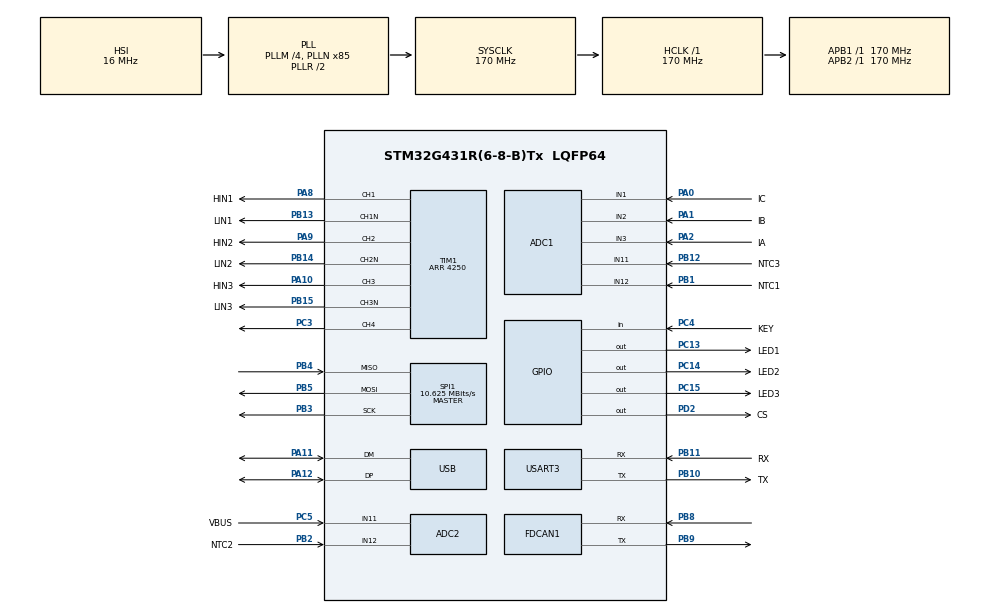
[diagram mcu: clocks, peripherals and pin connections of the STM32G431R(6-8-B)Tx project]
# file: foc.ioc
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ADC1.ClockPrescaler=ADC_CLOCK_ASYNC_DIV4
ADC1.EnableInjectedConversion=ENABLE
ADC1.EnableRegularConversion=DISABLE
ADC1.ExternalTrigInjecConv=ADC_EXTERNALTRIGINJEC_T1_TRGO2
ADC1.InjNumberOfConversion=3
ADC1.InjectedChannel-10\#ChannelInjectedConversion=ADC_CHANNEL_2
ADC1.InjectedChannel-11\#ChannelInjectedConversion=ADC_CHANNEL_3
ADC1.InjectedChannel-9\#ChannelInjectedConversion=ADC_CHANNEL_1
ADC1.InjectedOffsetNumber-10\#ChannelInjectedConversion=ADC_OFFSET_NONE
ADC1.InjectedOffsetNumber-11\#ChannelInjectedConversion=ADC_OFFSET_NONE
ADC1.InjectedOffsetNumber-9\#ChannelInjectedConversion=ADC_OFFSET_NONE
ADC1.InjectedRank-10\#ChannelInjectedConversion=2
ADC1.InjectedRank-11\#ChannelInjectedConversion=3
ADC1.InjectedRank-9\#ChannelInjectedConversion=1
ADC1.InjectedSamplingTime-10\#ChannelInjectedConversion=ADC_SAMPLETIME_6CYCLES_5
ADC1.InjectedSamplingTime-11\#ChannelInjectedConversion=ADC_SAMPLETIME_6CYCLES_5
ADC1.InjectedSamplingTime-9\#ChannelInjectedConversion=ADC_SAMPLETIME_6CYCLES_5
ADC1.Rank1_Channel=ADC_CHANNEL_1
ADC1.Rank2_Channel=ADC_CHANNEL_2
ADC1.Rank3_Channel=ADC_CHANNEL_3
ADC1.master=1
ADC2.Channel-0\#ChannelRegularConversion=ADC_CHANNEL_11
ADC2.ClockPrescaler=ADC_CLOCK_ASYNC_DIV4
ADC2.NbrOfConversionFlag=1
ADC2.OffsetNumber-0\#ChannelRegularConversion=ADC_OFFSET_NONE
ADC2.Rank-0\#ChannelRegularConversion=1
ADC2.SamplingTime-0\#ChannelRegularConversion=ADC_SAMPLETIME_2CYCLES_5
Dma.Request0=TIM1_CH1
Dma.Request1=TIM1_CH2
Dma.Request2=TIM1_CH3
Dma.TIM1_CH1.0.Direction=DMA_PERIPH_TO_MEMORY
Dma.TIM1_CH1.0.EventEnable=DISABLE
Dma.TIM1_CH1.0.Instance=DMA1_Channel1
Dma.TIM1_CH1.0.MemDataAlignment=DMA_MDATAALIGN_HALFWORD
Dma.TIM1_CH1.0.MemInc=DMA_MINC_ENABLE
Dma.TIM1_CH1.0.Mode=DMA_NORMAL
Dma.TIM1_CH1.0.PeriphDataAlignment=DMA_PDATAALIGN_HALFWORD
Dma.TIM1_CH1.0.PeriphInc=DMA_PINC_DISABLE
Dma.TIM1_CH1.0.Polarity=HAL_DMAMUX_REQ_GEN_RISING
Dma.TIM1_CH1.0.Priority=DMA_PRIORITY_LOW
Dma.TIM1_CH1.0.RequestNumber=1
Dma.TIM1_CH1.0.SignalID=NONE
Dma.TIM1_CH1.0.SyncEnable=DISABLE
Dma.TIM1_CH1.0.SyncPolarity=HAL_DMAMUX_SYNC_NO_EVENT
Dma.TIM1_CH1.0.SyncRequestNumber=1
Dma.TIM1_CH1.0.SyncSignalID=NONE
Dma.TIM1_CH2.1.Direction=DMA_PERIPH_TO_MEMORY
Dma.TIM1_CH2.1.EventEnable=DISABLE
Dma.TIM1_CH2.1.Instance=DMA1_Channel2
Dma.TIM1_CH2.1.MemDataAlignment=DMA_MDATAALIGN_HALFWORD
Dma.TIM1_CH2.1.MemInc=DMA_MINC_ENABLE
Dma.TIM1_CH2.1.Mode=DMA_NORMAL
Dma.TIM1_CH2.1.PeriphDataAlignment=DMA_PDATAALIGN_HALFWORD
Dma.TIM1_CH2.1.PeriphInc=DMA_PINC_DISABLE
Dma.TIM1_CH2.1.Polarity=HAL_DMAMUX_REQ_GEN_RISING
Dma.TIM1_CH2.1.Priority=DMA_PRIORITY_LOW
Dma.TIM1_CH2.1.RequestNumber=1
Dma.TIM1_CH2.1.SignalID=NONE
Dma.TIM1_CH2.1.SyncEnable=DISABLE
Dma.TIM1_CH2.1.SyncPolarity=HAL_DMAMUX_SYNC_NO_EVENT
Dma.TIM1_CH2.1.SyncRequestNumber=1
Dma.TIM1_CH2.1.SyncSignalID=NONE
Dma.TIM1_CH3.2.Direction=DMA_PERIPH_TO_MEMORY
Dma.TIM1_CH3.2.EventEnable=DISABLE
Dma.TIM1_CH3.2.Instance=DMA1_Channel3
Dma.TIM1_CH3.2.MemDataAlignment=DMA_MDATAALIGN_HALFWORD
Dma.TIM1_CH3.2.MemInc=DMA_MINC_ENABLE
Dma.TIM1_CH3.2.Mode=DMA_NORMAL
Dma.TIM1_CH3.2.PeriphDataAlignment=DMA_PDATAALIGN_HALFWORD
Dma.TIM1_CH3.2.PeriphInc=DMA_PINC_DISABLE
Dma.TIM1_CH3.2.Polarity=HAL_DMAMUX_REQ_GEN_RISING
Dma.TIM1_CH3.2.Priority=DMA_PRIORITY_LOW
Dma.TIM1_CH3.2.RequestNumber=1
Dma.TIM1_CH3.2.SignalID=NONE
Dma.TIM1_CH3.2.SyncEnable=DISABLE
Dma.TIM1_CH3.2.SyncPolarity=HAL_DMAMUX_SYNC_NO_EVENT
Dma.TIM1_CH3.2.SyncRequestNumber=1
Dma.TIM1_CH3.2.SyncSignalID=NONE
FDCAN1.CalculateBaudRateNominal=999999
FDCAN1.CalculateTimeBitNominal=1000
FDCAN1.CalculateTimeQuantumNominal=11.764705882352942
FDCAN1.NominalPrescaler=2
FDCAN1.NominalTimeSeg1=63
FDCAN1.NominalTimeSeg2=21
Mcu.Family=STM32G4
Mcu.Name=STM32G431R(6-8-B)Tx
Mcu.Package=LQFP64
NVIC.ADC1_2_IRQn=true\:2\:0\:true\:false\:true\:true\:true\:true
NVIC.DMA1_Channel1_IRQn=true\:0\:0\:false\:false\:true\:false\:true\:true
NVIC.DMA1_Channel2_IRQn=true\:0\:0\:false\:false\:true\:false\:true\:true
NVIC.DMA1_Channel3_IRQn=true\:0\:0\:false\:false\:true\:false\:true\:true
NVIC.FDCAN1_IT0_IRQn=true\:0\:0\:false\:false\:true\:true\:true\:true
NVIC.FDCAN1_IT1_IRQn=true\:0\:0\:false\:false\:true\:true\:true\:true
NVIC.PriorityGroup=NVIC_PRIORITYGROUP_4
NVIC.TIM6_DAC_IRQn=true\:0\:0\:false\:false\:true\:true\:true\:true
NVIC.USB_HP_IRQn=true\:0\:0\:false\:false\:true\:true\:true\:true
NVIC.USB_LP_IRQn=true\:0\:0\:false\:false\:true\:true\:true\:true
PA0.GPIO_Label=IC
PA0.Mode=IN1-Single-Ended
PA0.Signal=ADC1_IN1
PA1.GPIO_Label=IB
PA1.Mode=IN2-Single-Ended
PA1.Signal=ADC1_IN2
PA10.GPIO_Label=HIN3
PA10.GPIO_PuPd=GPIO_PULLDOWN
PA10.Signal=S_TIM1_CH3
PA11.Mode=Device
PA11.Signal=USB_DM
PA12.Mode=Device
PA12.Signal=USB_DP
PA13.Mode=Serial_Wire
PA13.Signal=SYS_JTMS-SWDIO
PA14.Mode=Serial_Wire
PA14.Signal=SYS_JTCK-SWCLK
PA2.GPIO_Label=IA
PA2.Mode=IN3-Single-Ended
PA2.Signal=ADC1_IN3
PA8.GPIO_Label=HIN1
PA8.GPIO_PuPd=GPIO_PULLDOWN
PA8.Signal=S_TIM1_CH1
PA9.GPIO_Label=HIN2
PA9.GPIO_PuPd=GPIO_PULLDOWN
PA9.Signal=S_TIM1_CH2
PB1.GPIO_Label=NTC1
PB1.Mode=IN12-Single-Ended
PB1.Signal=ADC1_IN12
PB10.GPIO_Label=TX
PB10.Mode=Asynchronous
PB10.Signal=USART3_TX
PB11.GPIO_Label=RX
PB11.Mode=Asynchronous
PB11.Signal=USART3_RX
PB12.GPIO_Label=NTC3
PB12.Mode=IN11-Single-Ended
PB12.Signal=ADC1_IN11
PB13.GPIO_Label=LIN1
PB13.GPIO_PuPd=GPIO_PULLDOWN
PB13.Mode=PWM Generation1 CH1 CH1N
PB13.Signal=TIM1_CH1N
PB14.GPIO_Label=LIN2
PB14.GPIO_PuPd=GPIO_PULLDOWN
PB14.Mode=PWM Generation2 CH2 CH2N
PB14.Signal=TIM1_CH2N
PB15.GPIO_Label=LIN3
PB15.GPIO_PuPd=GPIO_PULLDOWN
PB15.Mode=PWM Generation3 CH3 CH3N
PB15.Signal=TIM1_CH3N
PB2.GPIO_Label=NTC2
PB2.Mode=IN12-Single-Ended
PB2.Signal=ADC2_IN12
PB3.Mode=Full_Duplex_Master
PB3.Signal=SPI1_SCK
PB4.Mode=Full_Duplex_Master
PB4.Signal=SPI1_MISO
PB5.Mode=Full_Duplex_Master
PB5.Signal=SPI1_MOSI
PB8-BOOT0.Mode=FDCAN_Activate
PB8-BOOT0.Signal=FDCAN1_RX
PB9.Mode=FDCAN_Activate
PB9.Signal=FDCAN1_TX
PC13.GPIO_Label=LED1
PC13.Signal=GPIO_Output
PC14-OSC32_IN.GPIO_Label=LED2
PC14-OSC32_IN.Signal=GPIO_Output
PC15-OSC32_OUT.GPIO_Label=LED3
PC15-OSC32_OUT.Signal=GPIO_Output
PC3.Signal=S_TIM1_CH4
PC4.GPIO_Label=KEY
PC4.Signal=GPIO_Input
PC5.GPIO_Label=VBUS
PC5.Mode=IN11-Single-Ended
PC5.Signal=ADC2_IN11
PD2.GPIO_Label=CS
PD2.Signal=GPIO_Output
PF0-OSC_IN.Mode=HSE-External-Oscillator
PF0-OSC_IN.Signal=RCC_OSC_IN
PF1-OSC_OUT.Mode=HSE-External-Oscillator
PF1-OSC_OUT.Signal=RCC_OSC_OUT
ProjectManager.HeapSize=0x200
ProjectManager.StackSize=0x400
ProjectManager.TargetToolchain=CMake
RCC.ADC12Freq_Value=170000000
RCC.AHBFreq_Value=170000000
RCC.APB1Freq_Value=170000000
RCC.APB1TimFreq_Value=170000000
RCC.APB2Freq_Value=170000000
RCC.APB2TimFreq_Value=170000000
RCC.CK48CLockSelection=RCC_USBCLKSOURCE_HSI48
RCC.CortexFreq_Value=170000000
RCC.EXTERNAL_CLOCK_VALUE=12288000
RCC.HCLKFreq_Value=170000000
RCC.HSE_VALUE=8000000
RCC.HSI48_VALUE=48000000
RCC.HSI_VALUE=16000000
RCC.LSE_VALUE=32768
RCC.PLLM=RCC_PLLM_DIV4
RCC.PLLN=85
RCC.PLLQ=RCC_PLLQ_DIV4
RCC.SYSCLKFreq_VALUE=170000000
RCC.SYSCLKSource=RCC_SYSCLKSOURCE_PLLCLK
RCC.USBFreq_Value=48000000
RCC.VCOOutputFreq_Value=340000000
SH.S_TIM1_CH1.0=TIM1_CH1,PWM Generation1 CH1 CH1N
SH.S_TIM1_CH2.0=TIM1_CH2,PWM Generation2 CH2 CH2N
SH.S_TIM1_CH3.0=TIM1_CH3,PWM Generation3 CH3 CH3N
SH.S_TIM1_CH4.0=TIM1_CH4,PWM Generation4 CH4
SPI1.BaudRatePrescaler=SPI_BAUDRATEPRESCALER_16
SPI1.CLKPhase=SPI_PHASE_2EDGE
SPI1.CLKPolarity=SPI_POLARITY_HIGH
SPI1.CalculateBaudRate=10.625 MBits/s
SPI1.DataSize=SPI_DATASIZE_8BIT
SPI1.Direction=SPI_DIRECTION_2LINES
SPI1.Mode=SPI_MODE_MASTER
SPI1.VirtualType=VM_MASTER
TIM1.BreakState=TIM_BREAK_DISABLE
TIM1.Channel-PWM\ Generation1\ CH1\ CH1N=TIM_CHANNEL_1
TIM1.Channel-PWM\ Generation2\ CH2\ CH2N=TIM_CHANNEL_2
TIM1.Channel-PWM\ Generation3\ CH3\ CH3N=TIM_CHANNEL_3
TIM1.Channel-PWM\ Generation4\ CH4=TIM_CHANNEL_4
TIM1.CounterMode=TIM_COUNTERMODE_CENTERALIGNED1
TIM1.DeadTime=200
TIM1.OCNPolarity_1=TIM_OCNPOLARITY_HIGH
TIM1.PeriodNoDither=4250
TIM1.PulseNoDither_4=4150
TIM1.TIM_MasterOutputTrigger=TIM_TRGO_UPDATE
TIM1.TIM_MasterOutputTrigger2=TIM_TRGO2_OC4REF
TIM6.PeriodNoDither=99
TIM6.Prescaler=169
USART3.VirtualMode-Asynchronous=VM_ASYNC
VP_SYS_VS_DBSignals.Mode=DisableDeadBatterySignals
VP_TIM1_VS_ClockSourceINT.Mode=Internal
VP_TIM6_VS_ClockSourceINT.Mode=Enable_Timer
board=custom

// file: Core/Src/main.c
/* USER CODE BEGIN Header */
/**
  ******************************************************************************
  * @file           : main.c
  * @brief          : Main program body
  ******************************************************************************
  * @attention
  *
  * Copyright (c) 2026 STMicroelectronics.
  * All rights reserved.
  *
  * This software is licensed under terms that can be found in the LICENSE file
  * in the root directory of this software component.
  * If no LICENSE file comes with this software, it is provided AS-IS.
  *
  ******************************************************************************
  */
/* USER CODE END Header */
#include "main.h"
#include "adc.h"
#include "dma.h"
#include "fdcan.h"
#include "spi.h"
#include "tim.h"
#include "usart.h"
#include "usb.h"
#include "gpio.h"

/* USER CODE BEGIN Includes */
#include "foc.h"
#include "current.h"
#include "motor.h"
#include "bsp_pwm.h"
#include "bsp_adc.h"
#include "bsp_led.h"
#include "angle.h"
#include "bsp_encoder.h"
#include "bsp_vofa.h"
#include "bsp_cmd.h"
#include "stdio.h"
/* USER CODE END Includes */

void SystemClock_Config(void);

int main(void)
{

  /* MCU Configuration--------------------------------------------------------*/

  /* Reset of all peripherals, Initializes the Flash interface and the Systick. */
  HAL_Init();

  /* Configure the system clock */
  SystemClock_Config();

  /* Initialize all configured peripherals */
  MX_GPIO_Init();
  MX_DMA_Init();
  MX_ADC1_Init();
  MX_ADC2_Init();
  MX_FDCAN1_Init();
  MX_TIM1_Init();
  MX_TIM6_Init();
  MX_USART3_UART_Init();
  MX_USB_PCD_Init();
  MX_SPI1_Init();
  /* USER CODE BEGIN 2 */
  BSP_LED_Init();

  FOC_Init();

  BSP_PWM_Start();

  BSP_ADC_Start();
  HAL_Delay(10);

  Current_CalibrateOffset();

  setbuf(stdout, NULL);

  /* 电压开环, 用编码器换向 */
  BSP_CMD_Init();
  Angle_SetMode(ANGLE_MODE_ENCODER);
  HAL_TIM_Base_Start_IT(&htim6);

  /* USER CODE END 2 */

  /* Infinite loop */
  while (1)
  {

    /* USER CODE BEGIN 3 */

    //BSP_LED_Heartbeat();

    /* 串口命令轮询: 必须放在 USER CODE 区内!
     * (原来放在 USER CODE 外面, 被 CubeMX 重新生成代码时删掉了 → 命令全失效) */
    BSP_CMD_Poll();

    /* 调试数据打印: 分组由 dbg 命令切换, 周期由 prd 命令设置 (默认 500ms) */
    static uint32_t last_print = 0;
    if (HAL_GetTick() - last_print >= g_prd_ms)
    {
        last_print = HAL_GetTick();
        BSP_CMD_PrintDebug();
    }
  }
  /* USER CODE END 3 */
}

void SystemClock_Config(void)
{
  RCC_OscInitTypeDef RCC_OscInitStruct = {0};
  RCC_ClkInitTypeDef RCC_ClkInitStruct = {0};

  /** Configure the main internal regulator output voltage
  */
  HAL_PWREx_ControlVoltageScaling(PWR_REGULATOR_VOLTAGE_SCALE1_BOOST);

  /** Initializes the RCC Oscillators according to the specified parameters
  * in the RCC_OscInitTypeDef structure.
  */
  RCC_OscInitStruct.OscillatorType = RCC_OSCILLATORTYPE_HSI|RCC_OSCILLATORTYPE_HSI48;
  RCC_OscInitStruct.HSIState = RCC_HSI_ON;
  RCC_OscInitStruct.HSICalibrationValue = RCC_HSICALIBRATION_DEFAULT;
  RCC_OscInitStruct.HSI48State = RCC_HSI48_ON;
  RCC_OscInitStruct.PLL.PLLState = RCC_PLL_ON;
  RCC_OscInitStruct.PLL.PLLSource = RCC_PLLSOURCE_HSI;
  RCC_OscInitStruct.PLL.PLLM = RCC_PLLM_DIV4;
  RCC_OscInitStruct.PLL.PLLN = 85;
  RCC_OscInitStruct.PLL.PLLP = RCC_PLLP_DIV2;
  RCC_OscInitStruct.PLL.PLLQ = RCC_PLLQ_DIV4;
  RCC_OscInitStruct.PLL.PLLR = RCC_PLLR_DIV2;
  if (HAL_RCC_OscConfig(&RCC_OscInitStruct) != HAL_OK)
  {
    Error_Handler();
  }

  /** Initializes the CPU, AHB and APB buses clocks
  */
  RCC_ClkInitStruct.ClockType = RCC_CLOCKTYPE_HCLK|RCC_CLOCKTYPE_SYSCLK
                              |RCC_CLOCKTYPE_PCLK1|RCC_CLOCKTYPE_PCLK2;
  RCC_ClkInitStruct.SYSCLKSource = RCC_SYSCLKSOURCE_PLLCLK;
  RCC_ClkInitStruct.AHBCLKDivider = RCC_SYSCLK_DIV1;
  RCC_ClkInitStruct.APB1CLKDivider = RCC_HCLK_DIV1;
  RCC_ClkInitStruct.APB2CLKDivider = RCC_HCLK_DIV1;

  if (HAL_RCC_ClockConfig(&RCC_ClkInitStruct, FLASH_LATENCY_4) != HAL_OK)
  {
    Error_Handler();
  }
}

/* USER CODE BEGIN 4 */
void HAL_TIM_PeriodElapsedCallback(TIM_HandleTypeDef *htim)
{
    if (htim->Instance == TIM6)
    {
        FOC_Run();
    }
}
/* USER CODE END 4 */

void Error_Handler(void)
{
  __disable_irq();
  while (1)
  {
  }
}
